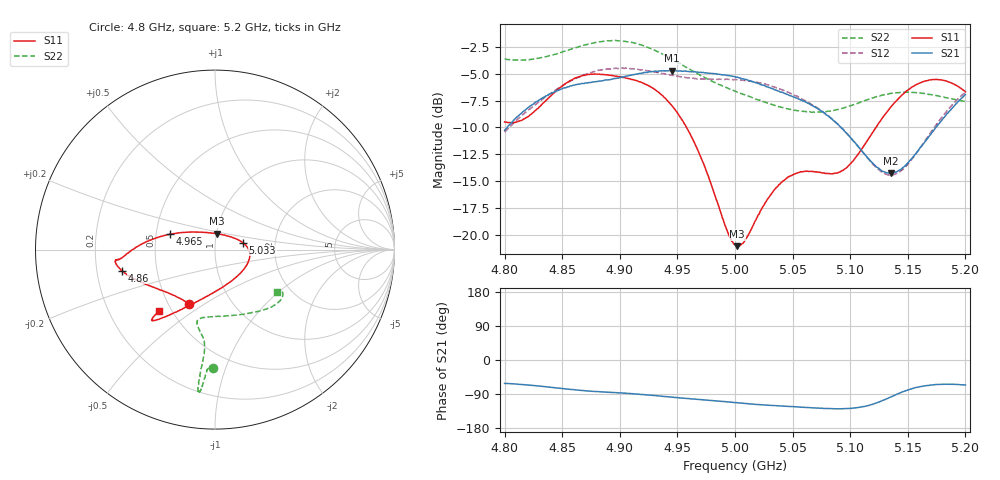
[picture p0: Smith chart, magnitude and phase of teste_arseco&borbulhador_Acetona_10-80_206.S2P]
! Network Analyzer HP8722D
! Hewlett-Packard
! Data name: Linha & Wilkinson
! Saver's name: Rodrigo Anjos
! Comments: Teste da utilização de aquisição
! continua pelo VNA HP8722D
! Time and date: 17/4/2025 16:04
!  Frequency  S11  S21  S12  S22
# HZ  S  MA R 50
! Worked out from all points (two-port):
!   401 points, 4.8 GHz to 5.2 GHz, reference 50 ohm
!   highest |S21| = -4.71 dB at 4.945 GHz (marker M1); lowest = -14.3 dB at 5.135 GHz (marker M2)
!   |S21| within 3 dB of the highest: 4.826 GHz to 5.063 GHz (236.4 MHz wide, 4.78 % of centre); 5.192773 GHz to end of sweep
!   lowest |S11| = -21.0 dB at 5.002 GHz (marker M3), VSWR 1.20, Z = 50.3 + j8.95 ohm
!   |S11| at or under -10 dB: 4.958 GHz to 5.122 GHz (164.3 MHz wide, 3.26 % of centre)
!   |S22| runs from -8.6 to -1.9 dB; largest |S21 - S12| = 0.87
!   S11 on the Smith chart (normalised r, x): 4.8 GHz: 0.63, -0.43; 4.86 GHz: 0.31, -0.10; 4.965 GHz: 0.59, +0.11; 5.033 GHz: 1.36, +0.11; 5.2 GHz: 0.43, -0.37
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4.8e9  0.3356 -115.6  0.3069 -61.8  0.301 -175.9  0.6578 -91.0
4.819e9  0.3522 -135.9  0.3855 -65.7  0.3743 -175.3  0.6518 -92.6
4.86e9  0.5323 -167.3  0.4964 -78.2  0.5282 -178.6  0.7361 -94.9
4.867e9  0.549 -170.0  0.5066 -80.4  0.5496 -179.9  0.7574 -95.2
4.899e9  0.5441 -174.2  0.5362 -86.8  0.5942 173.8  0.7984 -96.6
4.934e9  0.4597 -180.0  0.5787 -95.0  0.5695 170.6  0.706 -96.9
4.945e9  0.4007 174.9  0.5811 -98.2  0.5531 170.8  0.6588 -96.5
4.965e9  0.2672 161.4  0.5743 -103.3  0.5328 172.6  0.5721 -95.9
4.993e9  0.1055 115.8  0.5515 -110.4  0.5298 174.8  0.4834 -98.6
5e9  0.09053 90.8  0.5441 -112.5  0.5279 174.8  0.4658 -99.9
5.002e9  0.0889 83.0  0.5428 -112.9  0.5269 174.8  0.4612 -100.4
5.009e9  0.09573 58.3  0.5284 -114.6  0.5231 174.8  0.4469 -101.8
5.033e9  0.1596 14.2  0.4783 -120.1  0.4887 173.5  0.403 -103.5
5.048e9  0.1884 -0.5  0.4436 -122.7  0.4556 173.0  0.3839 -99.6
5.067e9  0.1976 -20.5  0.4 -126.1  0.4034 172.7  0.3719 -89.1
5.096e9  0.2041 -71.1  0.3003 -128.4  0.3007 174.6  0.3924 -66.6
5.121e9  0.3083 -109.6  0.2117 -115.4  0.2104 -170.2  0.4361 -49.6
5.134e9  0.3859 -119.7  0.194 -99.1  0.1899 -152.2  0.4538 -43.1
5.135e9  0.3915 -120.3  0.1937 -97.9  0.1903 -150.6  0.4549 -42.7
5.148e9  0.4626 -126.3  0.211 -81.2  0.2077 -131.4  0.461 -37.9
5.168e9  0.5237 -131.0  0.285 -66.8  0.2896 -113.2  0.4502 -33.0
5.2e9  0.4627 -132.4  0.4489 -66.0  0.4604 -108.2  0.4163 -34.5
